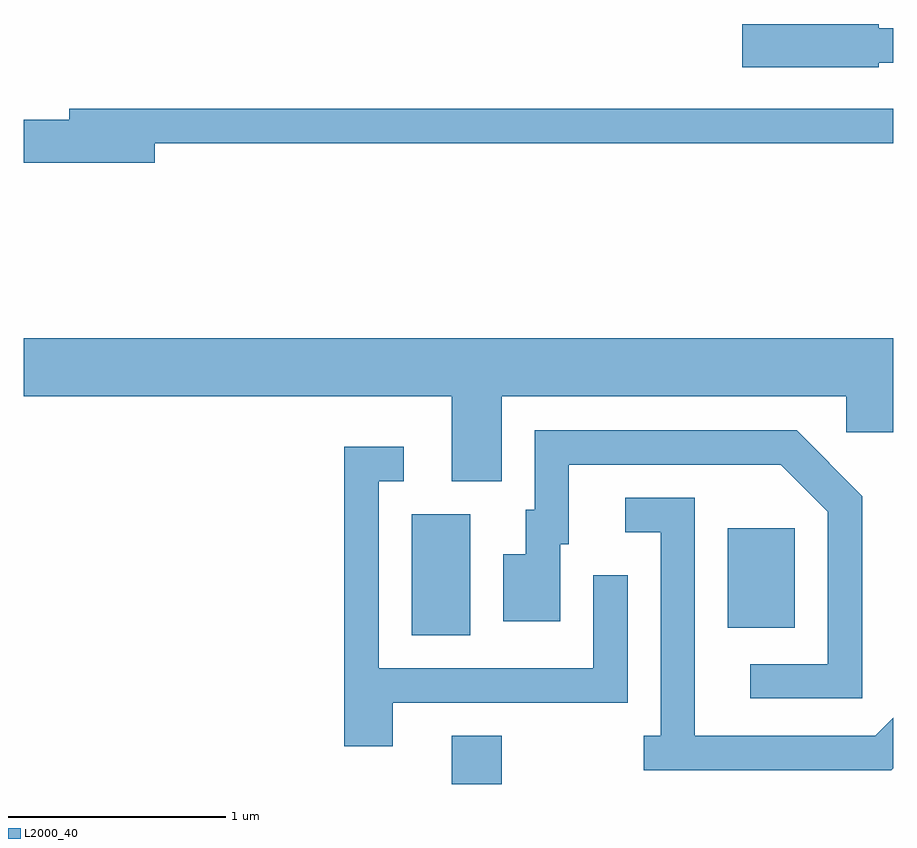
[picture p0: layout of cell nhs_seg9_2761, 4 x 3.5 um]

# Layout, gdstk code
import gdstk
lib = gdstk.Library(unit=1e-6, precision=1e-09)
def R(c, l, rs):  # rectangles x0, y0, x1, y1
    for r in rs: c.add(gdstk.rectangle(r[:2], r[2:], *l))
def P(c, l, *ps):  # polygons
    for p in ps: c.add(gdstk.Polygon(p, *l))
L2000_40 = (2000, 40)

nhs_seg9_2761 = lib.new_cell('nhs_seg9_2761')
R(nhs_seg9_2761, L2000_40, [(267.581,2034.432,267.809,2034.654), (267.396,2035.116,267.664,2035.674), (268.851,2035.151,269.159,2035.609)])
P(nhs_seg9_2761, L2000_40, [(269.544,2037.751),(269.611,2037.751),(269.611,2037.909),(269.544,2037.909),(269.544,2037.929),(268.916,2037.929),(268.916,2037.731),(269.544,2037.731)],
  [(266.214,2037.381),(269.611,2037.381),(269.611,2037.539),(265.821,2037.539),(265.821,2037.489),(265.611,2037.489),(265.611,2037.291),(266.214,2037.291)],
  [(267.809,2036.216),(269.396,2036.216),(269.396,2036.051),(269.611,2036.051),(269.611,2036.484),(265.611,2036.484),(265.611,2036.216),(267.581,2036.216),(267.581,2035.826),(267.809,2035.826)],
  [(269.469,2035.757),(269.167,2036.059),(267.961,2036.059),(267.961,2035.694),(267.921,2035.694),(267.921,2035.489),(267.816,2035.489),(267.816,2035.181),(268.079,2035.181),(268.079,2035.536),(268.119,2035.536),(268.119,2035.901),(269.094,2035.901),(269.311,2035.684),(269.311,2034.984),(268.953,2034.984),(268.953,2034.826),(269.469,2034.826)],
  [(267.309,2034.806),(268.389,2034.806),(268.389,2035.393),(268.231,2035.393),(268.231,2034.964),(267.244,2034.964),(267.244,2035.826),(267.358,2035.826),(267.358,2035.984),(267.086,2035.984),(267.086,2034.606),(267.309,2034.606)],
  [(269.611,2034.505),(269.611,2034.737),(269.529,2034.654),(268.699,2034.654),(268.699,2035.749),(268.378,2035.749),(268.378,2035.591),(268.541,2035.591),(268.541,2034.654),(268.463,2034.654),(268.463,2034.496),(269.602,2034.496)])

lib.write_gds('nhs_seg9_2761.gds')
